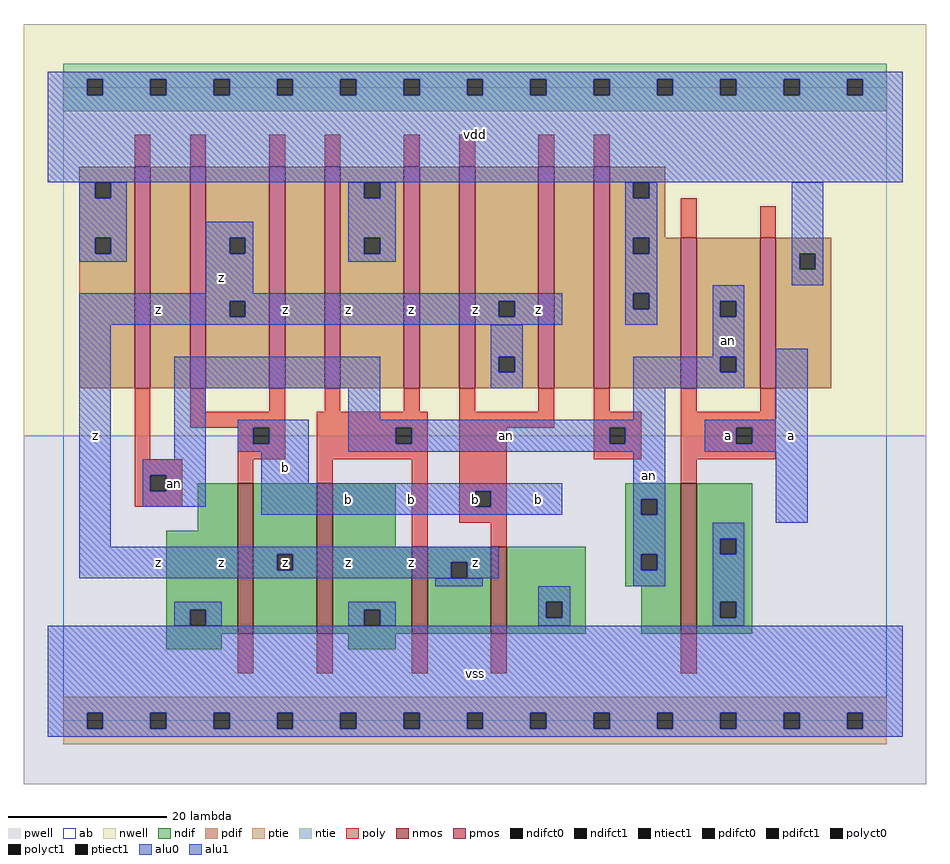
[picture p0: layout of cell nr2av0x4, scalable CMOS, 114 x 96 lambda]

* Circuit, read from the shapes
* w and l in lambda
.subckt nr2av0x4 a an b vdd vss z
M1 z b vss vss nfet w=19 l=2
M2 vss an z vss nfet w=19 l=2
M3 z an vss vss nfet w=11 l=2
M4 vss b z vss nfet w=11 l=2
M5 vss a an vss nfet w=19 l=2
M6 n1 an vdd vdd pfet w=28 l=2
M7 z b n1 vdd pfet w=28 l=2
M8 n2 b z vdd pfet w=28 l=2
M9 vdd an n2 vdd pfet w=28 l=2
M10 n3 an vdd vdd pfet w=28 l=2
M11 z b n3 vdd pfet w=28 l=2
M12 n4 b z vdd pfet w=28 l=2
M13 vdd an n4 vdd pfet w=28 l=2
M14 an a vdd vdd pfet w=19 l=2 m=2
.ends

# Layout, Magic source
magic
tech scmos
<< ab >>
rect 0 0 104 80
<< nwell >>
rect -5 36 109 88
<< pwell >>
rect -5 -8 109 36
<< poly >>
rect 9 70 11 74
rect 16 70 18 74
rect 26 70 28 74
rect 33 70 35 74
rect 43 70 45 74
rect 50 70 52 74
rect 60 70 62 74
rect 67 70 69 74
rect 78 61 80 66
rect 88 61 90 65
rect 9 33 11 42
rect 16 39 18 42
rect 26 39 28 42
rect 33 39 35 42
rect 43 39 45 42
rect 50 39 52 42
rect 60 39 62 42
rect 16 37 28 39
rect 22 35 24 37
rect 26 35 28 37
rect 22 33 28 35
rect 32 37 46 39
rect 32 35 42 37
rect 44 35 46 37
rect 32 33 46 35
rect 9 31 15 33
rect 9 29 11 31
rect 13 29 15 31
rect 22 30 24 33
rect 32 30 34 33
rect 9 27 15 29
rect 44 22 46 33
rect 50 37 62 39
rect 67 39 69 42
rect 78 39 80 42
rect 88 39 90 42
rect 67 37 73 39
rect 50 29 56 37
rect 67 35 69 37
rect 71 35 73 37
rect 67 33 73 35
rect 78 37 90 39
rect 78 35 85 37
rect 87 35 90 37
rect 78 33 90 35
rect 78 30 80 33
rect 50 27 52 29
rect 54 27 56 29
rect 50 25 56 27
rect 54 22 56 25
rect 22 6 24 11
rect 32 6 34 11
rect 44 6 46 11
rect 54 6 56 11
rect 78 6 80 11
<< ndif >>
rect 17 24 22 30
rect 13 14 22 24
rect 13 12 16 14
rect 18 12 22 14
rect 13 11 22 12
rect 24 21 32 30
rect 24 19 27 21
rect 29 19 32 21
rect 24 11 32 19
rect 34 22 42 30
rect 71 28 78 30
rect 71 26 73 28
rect 75 26 78 28
rect 34 14 44 22
rect 34 12 38 14
rect 40 12 44 14
rect 34 11 44 12
rect 46 20 54 22
rect 46 18 49 20
rect 51 18 54 20
rect 46 11 54 18
rect 56 15 66 22
rect 71 21 78 26
rect 71 19 73 21
rect 75 19 78 21
rect 71 17 78 19
rect 56 13 61 15
rect 63 13 66 15
rect 56 11 66 13
rect 73 11 78 17
rect 80 23 87 30
rect 80 21 83 23
rect 85 21 87 23
rect 80 15 87 21
rect 80 13 83 15
rect 85 13 87 15
rect 80 11 87 13
rect 13 9 20 11
rect 36 9 42 11
<< pdif >>
rect 2 68 9 70
rect 2 66 4 68
rect 6 66 9 68
rect 2 61 9 66
rect 2 59 4 61
rect 6 59 9 61
rect 2 42 9 59
rect 11 42 16 70
rect 18 61 26 70
rect 18 59 21 61
rect 23 59 26 61
rect 18 53 26 59
rect 18 51 21 53
rect 23 51 26 53
rect 18 42 26 51
rect 28 42 33 70
rect 35 68 43 70
rect 35 66 38 68
rect 40 66 43 68
rect 35 61 43 66
rect 35 59 38 61
rect 40 59 43 61
rect 35 42 43 59
rect 45 42 50 70
rect 52 53 60 70
rect 52 51 55 53
rect 57 51 60 53
rect 52 46 60 51
rect 52 44 55 46
rect 57 44 60 46
rect 52 42 60 44
rect 62 42 67 70
rect 69 68 76 70
rect 69 66 72 68
rect 74 66 76 68
rect 69 61 76 66
rect 69 59 72 61
rect 74 59 78 61
rect 69 54 78 59
rect 69 52 72 54
rect 74 52 78 54
rect 69 42 78 52
rect 80 53 88 61
rect 80 51 83 53
rect 85 51 88 53
rect 80 46 88 51
rect 80 44 83 46
rect 85 44 88 46
rect 80 42 88 44
rect 90 59 97 61
rect 90 57 93 59
rect 95 57 97 59
rect 90 42 97 57
<< alu1 >>
rect -2 81 106 82
rect -2 79 3 81
rect 5 79 11 81
rect 13 79 19 81
rect 21 79 27 81
rect 29 79 35 81
rect 37 79 43 81
rect 45 79 51 81
rect 53 79 59 81
rect 61 79 67 81
rect 69 79 75 81
rect 77 79 83 81
rect 85 79 91 81
rect 93 79 99 81
rect 101 79 106 81
rect -2 68 106 79
rect 18 61 24 63
rect 18 59 21 61
rect 23 59 24 61
rect 18 54 24 59
rect 2 53 63 54
rect 2 51 21 53
rect 23 51 55 53
rect 57 51 63 53
rect 2 50 63 51
rect 2 22 6 50
rect 90 38 94 47
rect 22 37 31 38
rect 22 35 24 37
rect 26 35 31 37
rect 22 34 31 35
rect 81 37 94 38
rect 81 35 85 37
rect 87 35 94 37
rect 81 34 94 35
rect 25 30 31 34
rect 25 29 63 30
rect 25 27 52 29
rect 54 27 63 29
rect 25 26 63 27
rect 2 21 55 22
rect 2 19 27 21
rect 29 20 55 21
rect 29 19 49 20
rect 2 18 49 19
rect 51 18 55 20
rect 90 25 94 34
rect -2 1 106 12
rect -2 -1 3 1
rect 5 -1 11 1
rect 13 -1 19 1
rect 21 -1 27 1
rect 29 -1 35 1
rect 37 -1 43 1
rect 45 -1 51 1
rect 53 -1 59 1
rect 61 -1 67 1
rect 69 -1 75 1
rect 77 -1 83 1
rect 85 -1 91 1
rect 93 -1 99 1
rect 101 -1 106 1
rect -2 -2 106 -1
<< ptie >>
rect 0 1 104 3
rect 0 -1 3 1
rect 5 -1 11 1
rect 13 -1 19 1
rect 21 -1 27 1
rect 29 -1 35 1
rect 37 -1 43 1
rect 45 -1 51 1
rect 53 -1 59 1
rect 61 -1 67 1
rect 69 -1 75 1
rect 77 -1 83 1
rect 85 -1 91 1
rect 93 -1 99 1
rect 101 -1 104 1
rect 0 -3 104 -1
<< ntie >>
rect 0 81 104 83
rect 0 79 3 81
rect 5 79 11 81
rect 13 79 19 81
rect 21 79 27 81
rect 29 79 35 81
rect 37 79 43 81
rect 45 79 51 81
rect 53 79 59 81
rect 61 79 67 81
rect 69 79 75 81
rect 77 79 83 81
rect 85 79 91 81
rect 93 79 99 81
rect 101 79 104 81
rect 0 77 104 79
<< nmos >>
rect 22 11 24 30
rect 32 11 34 30
rect 44 11 46 22
rect 54 11 56 22
rect 78 11 80 30
<< pmos >>
rect 9 42 11 70
rect 16 42 18 70
rect 26 42 28 70
rect 33 42 35 70
rect 43 42 45 70
rect 50 42 52 70
rect 60 42 62 70
rect 67 42 69 70
rect 78 42 80 61
rect 88 42 90 61
<< polyct0 >>
rect 42 35 44 37
rect 11 29 13 31
rect 69 35 71 37
<< polyct1 >>
rect 24 35 26 37
rect 85 35 87 37
rect 52 27 54 29
<< ndifct0 >>
rect 16 12 18 14
rect 73 26 75 28
rect 38 12 40 14
rect 73 19 75 21
rect 61 13 63 15
rect 83 21 85 23
rect 83 13 85 15
<< ndifct1 >>
rect 27 19 29 21
rect 49 18 51 20
<< ntiect1 >>
rect 3 79 5 81
rect 11 79 13 81
rect 19 79 21 81
rect 27 79 29 81
rect 35 79 37 81
rect 43 79 45 81
rect 51 79 53 81
rect 59 79 61 81
rect 67 79 69 81
rect 75 79 77 81
rect 83 79 85 81
rect 91 79 93 81
rect 99 79 101 81
<< ptiect1 >>
rect 3 -1 5 1
rect 11 -1 13 1
rect 19 -1 21 1
rect 27 -1 29 1
rect 35 -1 37 1
rect 43 -1 45 1
rect 51 -1 53 1
rect 59 -1 61 1
rect 67 -1 69 1
rect 75 -1 77 1
rect 83 -1 85 1
rect 91 -1 93 1
rect 99 -1 101 1
<< pdifct0 >>
rect 4 66 6 68
rect 4 59 6 61
rect 38 66 40 68
rect 38 59 40 61
rect 55 44 57 46
rect 72 66 74 68
rect 72 59 74 61
rect 72 52 74 54
rect 83 51 85 53
rect 83 44 85 46
rect 93 57 95 59
<< pdifct1 >>
rect 21 59 23 61
rect 21 51 23 53
rect 55 51 57 53
<< alu0 >>
rect 2 66 4 68
rect 6 66 8 68
rect 2 61 8 66
rect 36 66 38 68
rect 40 66 42 68
rect 2 59 4 61
rect 6 59 8 61
rect 2 58 8 59
rect 36 61 42 66
rect 36 59 38 61
rect 40 59 42 61
rect 36 58 42 59
rect 71 66 72 68
rect 74 66 75 68
rect 71 61 75 66
rect 71 59 72 61
rect 74 59 75 61
rect 71 54 75 59
rect 92 59 96 68
rect 92 57 93 59
rect 95 57 96 59
rect 92 55 96 57
rect 71 52 72 54
rect 74 52 75 54
rect 71 50 75 52
rect 82 53 86 55
rect 82 51 83 53
rect 85 51 86 53
rect 54 46 58 50
rect 82 46 86 51
rect 14 42 40 46
rect 54 44 55 46
rect 57 44 58 46
rect 54 42 58 44
rect 72 44 83 46
rect 85 44 86 46
rect 72 42 86 44
rect 14 33 18 42
rect 36 38 40 42
rect 72 38 76 42
rect 36 37 76 38
rect 36 35 42 37
rect 44 35 69 37
rect 71 35 76 37
rect 36 34 76 35
rect 10 31 18 33
rect 10 29 11 31
rect 13 29 18 31
rect 10 27 18 29
rect 72 28 76 34
rect 72 26 73 28
rect 75 26 76 28
rect 72 21 76 26
rect 72 19 73 21
rect 75 19 76 21
rect 47 17 53 18
rect 72 17 76 19
rect 82 23 86 25
rect 82 21 83 23
rect 85 21 86 23
rect 60 15 64 17
rect 14 14 20 15
rect 14 12 16 14
rect 18 12 20 14
rect 36 14 42 15
rect 36 12 38 14
rect 40 12 42 14
rect 60 13 61 15
rect 63 13 64 15
rect 60 12 64 13
rect 82 15 86 21
rect 82 13 83 15
rect 85 13 86 15
rect 82 12 86 13
<< labels >>
rlabel alu0 14 30 14 30 6 an
rlabel alu0 56 36 56 36 6 an
rlabel alu0 74 31 74 31 6 an
rlabel alu0 84 48 84 48 6 an
rlabel alu1 12 20 12 20 6 z
rlabel alu1 20 20 20 20 6 z
rlabel alu1 4 36 4 36 6 z
rlabel alu1 20 56 20 56 6 z
rlabel alu1 12 52 12 52 6 z
rlabel alu1 36 20 36 20 6 z
rlabel alu1 44 20 44 20 6 z
rlabel ndifct1 28 20 28 20 6 z
rlabel alu1 28 32 28 32 6 b
rlabel alu1 44 28 44 28 6 b
rlabel alu1 36 28 36 28 6 b
rlabel alu1 28 52 28 52 6 z
rlabel alu1 44 52 44 52 6 z
rlabel alu1 36 52 36 52 6 z
rlabel alu1 52 6 52 6 6 vss
rlabel alu1 52 20 52 20 6 z
rlabel alu1 52 28 52 28 6 b
rlabel alu1 60 28 60 28 6 b
rlabel alu1 52 52 52 52 6 z
rlabel alu1 60 52 60 52 6 z
rlabel alu1 52 74 52 74 6 vdd
rlabel alu1 84 36 84 36 6 a
rlabel alu1 92 36 92 36 6 a
<< end >>
